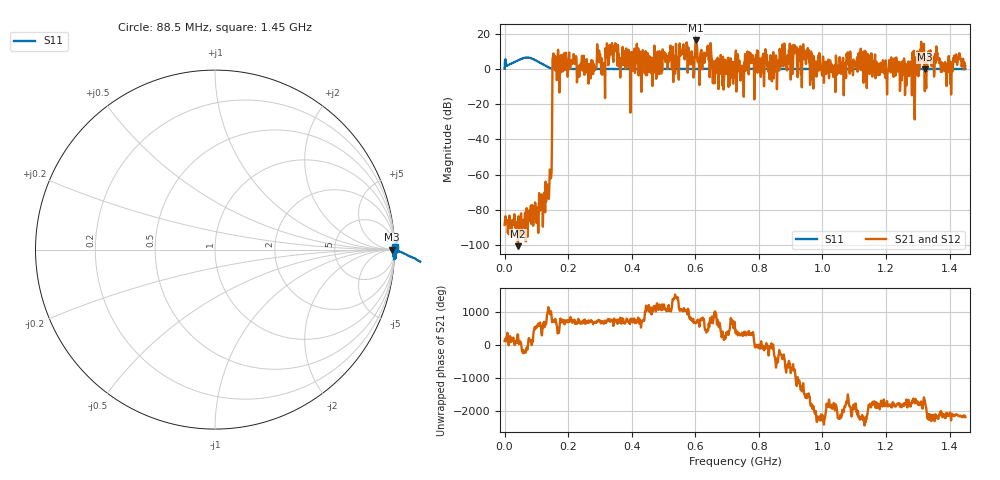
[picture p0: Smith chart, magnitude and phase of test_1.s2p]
! Created with skrf 1.11.0 (http://scikit-rf.org).
# Hz S RI R 50.0
!freq ReS11 ImS11 ReS21 ImS21 ReS12 ImS12 ReS22 ImS22
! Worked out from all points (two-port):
!   1001 points, 50 kHz to 1.45 GHz, reference 50 ohm
!   highest |S21| = 16.26 dB at 601.8 MHz (marker M1); lowest = -100.7 dB at 42.1 MHz (marker M2)
!   |S21| within 3 dB of the highest: 291.3611 MHz to 291.6668 MHz (305.7 kHz wide, 0.105 % of centre); 572.2759 MHz to 574.2565 MHz (1.981 MHz wide, 0.346 % of centre) (the widest 2 of 27)
!   lowest |S11| = -0.1 dB at 1.322 GHz (marker M3), VSWR 143.28, Z = 7.16e+03 + j87.4 ohm
!   |S11| at or under -10 dB: nowhere
!   |S22| runs from - to - dB; largest |S21 - S12| = 0
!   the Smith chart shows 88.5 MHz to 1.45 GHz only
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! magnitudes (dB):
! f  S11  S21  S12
! 50 kHz  0.2  -88.6  -88.6
! 42.1 MHz  4.9  -100.7  -100.7
! 133.4 MHz  1.4  -69.2  -69.2
! 142.1 MHz  0.7  -57.1  -57.1
! 158.1 MHz  0.0  7.6  7.6
! 242.2 MHz  0.1  4.2  4.2
! 295.8 MHz  0.0  4.0  4.0
! 308.9 MHz  0.0  3.4  3.4
! 345.1 MHz  0.0  13.0  13.0
! 484.3 MHz  0.1  6.0  6.0
! 601.8 MHz  0.0  16.3  16.3
! 725 MHz  0.1  -4.7  -4.7
! 854.1 MHz  0.1  7.8  7.8
! 912.1 MHz  0.1  9.0  9.0
! 967.2 MHz  0.0  8.7  8.7
! 1.209 GHz  0.1  2.6  2.6
! 1.296 GHz  0.0  -3.4  -3.4
! 1.314 GHz  0.0  4.8  4.8
! 1.322 GHz  -0.1  -12.6  -12.6
! 1.362 GHz  0.1  9.2  9.2
! 1.398 GHz  0.1  7.4  7.4
! 1.45 GHz  0.0  1.8  1.8
